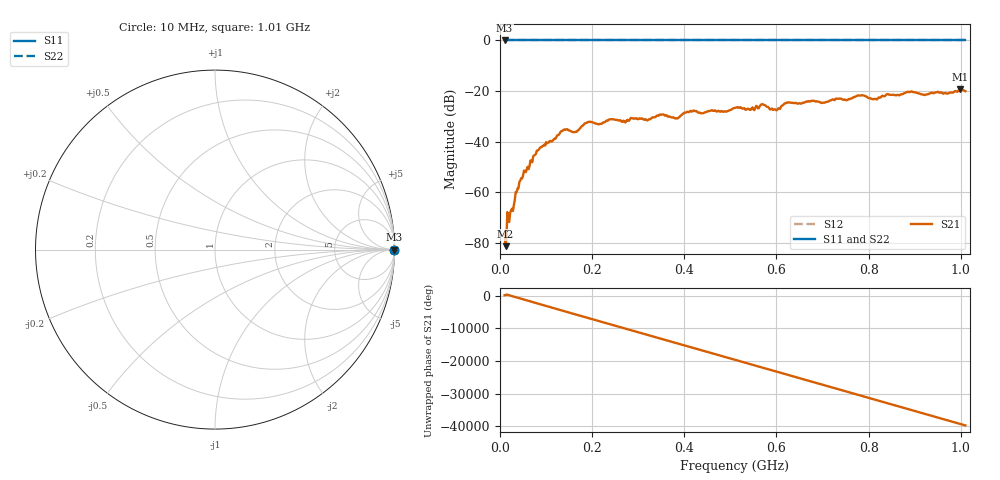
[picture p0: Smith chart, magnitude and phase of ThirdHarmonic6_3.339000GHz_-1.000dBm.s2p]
! 8/17/2025 10:30:38 AM
! C:\ANRITSUVNA\TEMP\TEMP.S2P
! CHANNEL.1
! TR.MEASUREMENT
! RAW.DATA
! RF.CORRECTION.OFF
! AVERAGING.OFF
! IF.BANDWIDTH: 5KHZ
! SWEEPTYPE:  FREQ.SWEEP(Linear)
! Reference Plane Port Info
! PORT:  PORT1  PORT2
! DISTANCE:  0  m  0  m
! TIME:  0  s  0  s
! PHASE.OFFSET:  0  deg.  0  deg.
! LOSS:  0  dB  0  dB
! REF.LOSS:  0  dB  0  dB
! REF.FREQ:  0  Hz  0  Hz
! Power Info
! POWER:  -20  dBm  -20  dBm
! EFF.POWER:  -20  dBm  -20  dBm
! SOURCE.ATTEN:  0  dB  0  dB
! TEST.ATTEN:  0  dB  0  dB
# GHZ S RI R 50.0
! FREQ.GHZ  S11RE  S11IM  S21RE  S21IM  S12RE  S12IM  S22RE  S22IM
!; PortSelection: Port_12
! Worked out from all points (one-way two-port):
!   501 points, 10 MHz to 1.01 GHz, reference 50 ohm
!   highest |S21| = -19.39 dB at 998 MHz (marker M1); lowest = -81.4 dB at 12 MHz (marker M2)
!   lowest |S11| = 0.0 dB at 10 MHz (marker M3)
!   |S11| at or under -10 dB: nowhere
!   |S22| runs from 0.0 to 0.0 dB; largest |S21 - S12| = 1.1
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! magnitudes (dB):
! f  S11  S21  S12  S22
! 10 MHz  0.0  -76.6  0.0  0.0
! 12 MHz  0.0  -81.4  0.0  0.0
! 20 MHz  0.0  -71.8  0.0  0.0
! 24 MHz  0.0  -67.3  0.0  0.0
! 42 MHz  0.0  -56.0  0.0  0.0
! 76 MHz  0.0  -45.3  0.0  0.0
! 136 MHz  0.0  -35.7  0.0  0.0
! 162 MHz  0.0  -36.3  0.0  0.0
! 178 MHz  0.0  -33.8  0.0  0.0
! 344 MHz  0.0  -29.8  0.0  0.0
! 384 MHz  0.0  -30.8  0.0  0.0
! 416 MHz  0.0  -28.2  0.0  0.0
! 510 MHz  0.0  -26.7  0.0  0.0
! 570 MHz  0.0  -25.2  0.0  0.0
! 598 MHz  0.0  -27.4  0.0  0.0
! 622 MHz  0.0  -24.6  0.0  0.0
! 678 MHz  0.0  -23.9  0.0  0.0
! 782 MHz  0.0  -21.8  0.0  0.0
! 814 MHz  0.0  -23.1  0.0  0.0
! 844 MHz  0.0  -21.4  0.0  0.0
! 998 MHz  0.0  -19.4  0.0  0.0
! 1.01 GHz  0.0  -20.1  0.0  0.0
